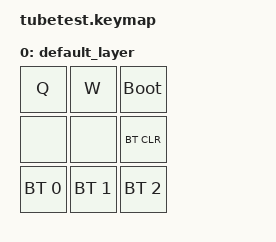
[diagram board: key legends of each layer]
#include <behaviors.dtsi>
#include <dt-bindings/zmk/keys.h>
#include <dt-bindings/zmk/bt.h>

/ {
    keymap {
        compatible = "zmk,keymap";

        default_layer {
            bindings = <
                &kp Q    &kp W    &bootloader
                &none    &none    &bt BT_CLR
                &bt BT_SEL 0 &bt BT_SEL 1 &bt BT_SEL 2
            >;
        };
    };
};
